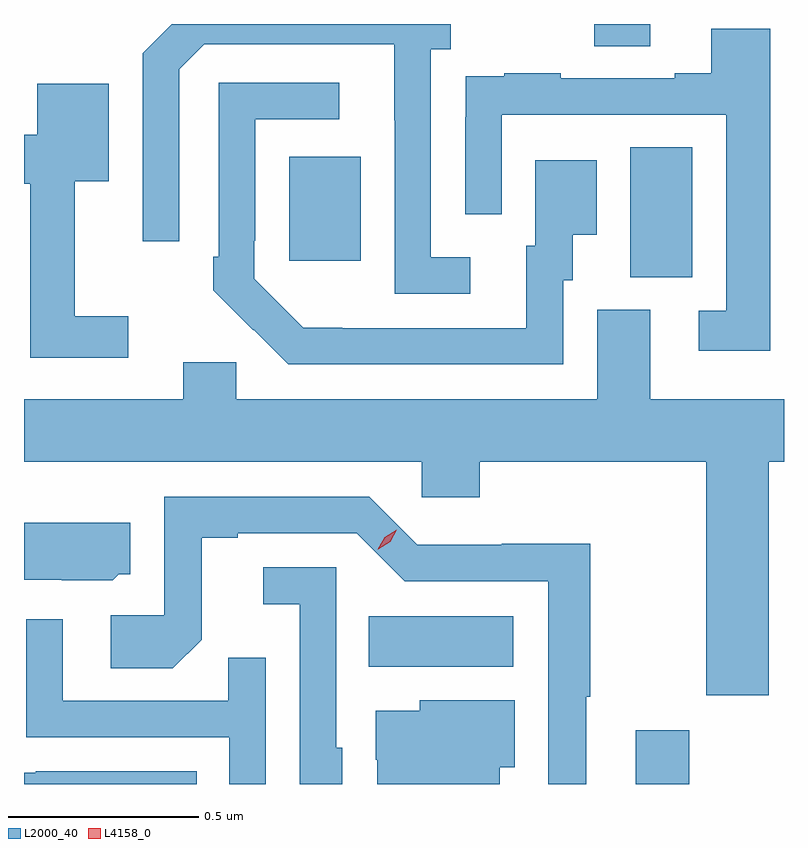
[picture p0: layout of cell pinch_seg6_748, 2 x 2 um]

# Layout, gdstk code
import gdstk
lib = gdstk.Library(unit=1e-6, precision=1e-09)
def R(c, l, rs):  # rectangles x0, y0, x1, y1
    for r in rs: c.add(gdstk.rectangle(r[:2], r[2:], *l))
def P(c, l, *ps):  # polygons
    for p in ps: c.add(gdstk.Polygon(p, *l))
L2000_40 = (2000, 40)
L4158_0 = (4158, 0)

pinch_seg6_748 = lib.new_cell('pinch_seg6_748')
R(pinch_seg6_748, L2000_40, [(595.835,949.152,595.975,949.294), (595.132,949.46,595.513,949.594), (595.82,950.485,595.984,950.828), (594.923,950.529,595.111,950.803), (595.726,951.094,595.873,951.152)])
P(pinch_seg6_748, L2000_40, [(595.399,950.538),(595.296,950.538),(595.296,951.086),(595.348,951.086),(595.348,951.152),(594.614,951.152),(594.537,951.075),(594.537,950.58),(594.633,950.58),(594.633,951.033),(594.699,951.099),(595.199,951.099),(595.199,950.899),(595.2,950.899),(595.2,950.442),(595.399,950.442)],
  [(596.189,951.139),(596.033,951.139),(596.033,951.022),(595.937,951.022),(595.937,951.009),(595.637,951.009),(595.637,951.022),(595.489,951.022),(595.489,951.015),(595.387,951.015),(595.387,950.906),(595.386,950.906),(595.386,950.652),(595.482,950.652),(595.482,950.913),(596.073,950.913),(596.073,950.397),(596.001,950.397),(596.001,950.292),(596.189,950.292)],
  [(595.644,950.478),(595.669,950.478),(595.669,950.597),(595.732,950.597),(595.732,950.794),(595.571,950.794),(595.571,950.568),(595.547,950.568),(595.547,950.352),(595.063,950.352),(595.063,950.353),(594.96,950.353),(594.831,950.481),(594.831,950.581),(594.834,950.581),(594.834,950.901),(595.054,950.901),(595.054,950.997),(594.738,950.997),(594.738,950.539),(594.723,950.539),(594.723,950.451),(594.828,950.346),(594.829,950.347),(594.92,950.256),(595.644,950.256)],
  [(594.499,950.383),(594.359,950.383),(594.359,950.738),(594.448,950.738),(594.448,950.995),(594.26,950.995),(594.26,950.86),(594.225,950.86),(594.225,950.731),(594.241,950.731),(594.241,950.274),(594.499,950.274)],
  [(596.185,950),(596.225,950),(596.225,950.164),(595.873,950.164),(595.873,950.4),(595.733,950.4),(595.733,950.164),(594.783,950.164),(594.783,950.262),(594.644,950.262),(594.644,950.164),(594.225,950.164),(594.225,950),(595.272,950),(595.272,949.907),(595.424,949.907),(595.424,950),(596.021,950),(596.021,949.386),(596.185,949.386)],
  [(595.705,949.381),(595.715,949.381),(595.715,949.784),(595.482,949.784),(595.482,949.782),(595.26,949.782),(595.134,949.908),(594.594,949.908),(594.594,949.596),(594.453,949.596),(594.453,949.456),(594.617,949.456),(594.693,949.532),(594.693,949.8),(594.787,949.8),(594.787,949.812),(595.101,949.812),(595.227,949.686),(595.604,949.686),(595.604,949.152),(595.705,949.152)],
  [(594.474,949.704),(594.505,949.704),(594.505,949.84),(594.225,949.84),(594.225,949.689),(594.324,949.689),(594.324,949.688),(594.458,949.688)],
  [(595.062,949.248),(595.047,949.248),(595.047,949.722),(594.855,949.722),(594.855,949.625),(594.951,949.625),(594.951,949.152),(595.062,949.152)],
  [(594.861,949.484),(594.763,949.484),(594.763,949.371),(594.327,949.371),(594.327,949.585),(594.231,949.585),(594.231,949.275),(594.765,949.275),(594.765,949.152),(594.861,949.152)],
  [(595.477,949.196),(595.516,949.196),(595.516,949.372),(595.266,949.372),(595.266,949.345),(595.151,949.345),(595.151,949.216),(595.155,949.216),(595.155,949.152),(595.477,949.152)],
  [(594.68,949.185),(594.256,949.185),(594.256,949.182),(594.225,949.182),(594.225,949.152),(594.68,949.152)])
P(pinch_seg6_748, L4158_0, [(595.156,949.77),(595.156,949.77),(595.174,949.802),(595.206,949.821),(595.206,949.821),(595.206,949.821),(595.189,949.789),(595.157,949.77)])

lib.write_gds('pinch_seg6_748.gds')
